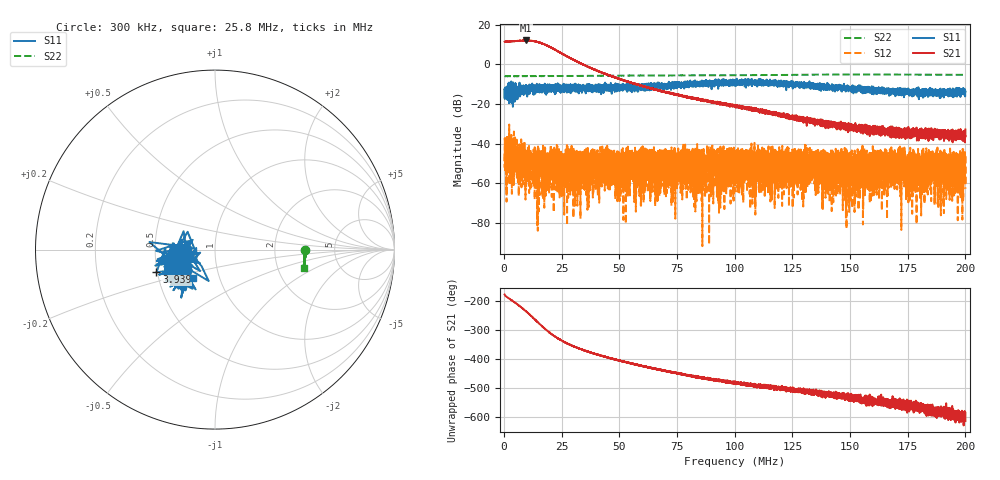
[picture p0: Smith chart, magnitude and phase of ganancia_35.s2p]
# Hz S DB R 50
! CMT, M5065, 19127446, 24.2.4/2
! Date: 11/8/2024 3:05:56 PM
! Data: Format (Calibration Info)
! Freq	S11:dB/Ang(F2)	S21:dB/Ang(F2)	S12:dB/Ang(F2)	S22:dB/Ang(F2)
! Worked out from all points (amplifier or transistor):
!   9000 points, 300 kHz to 200 MHz, reference 50 ohm
!   highest |S21| = 12.0 dB at 9.509 MHz (marker M1)
!   |S21| within 3 dB of that: start of sweep to 19.38 MHz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
!   unconditionally stable (mu >= 1): start of sweep to end of sweep
!   at 33.59 MHz: K = 125.35, MAG = 1.8 dB, |S12| = -51.4 dB
!   at 100.2 MHz: K = 5057.79, MAG = -18.9 dB, |S12| = -63.2 dB
!   at 200 MHz: K = 20809.40, MAG = -31.2 dB, |S12| = -62.8 dB
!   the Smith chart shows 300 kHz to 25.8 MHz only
!   S11 on the Smith chart (normalised r, x): 300 kHz: 0.63, -0.00; 3.939 MHz: 0.49, -0.14; 25.8 MHz: 0.75, -0.25
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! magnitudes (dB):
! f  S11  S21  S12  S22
! 300 kHz  -12.9  11.4  -45.1  -6.0
! 3.939 MHz  -9.1  11.6  -46.0  -6.0
! 9.509 MHz  -11.4  12.0  -44.1  -5.9
! 25.8 MHz  -14.0  4.9  -48.4  -5.9
! 33.59 MHz  -12.1  0.2  -51.4  -5.9
! 66.87 MHz  -10.6  -12.9  -43.8  -5.6
! 68.85 MHz  -11.2  -13.6  -46.5  -5.7
! 73.58 MHz  -10.2  -15.0  -49.0  -5.6
! 100.2 MHz  -9.4  -20.8  -63.2  -5.5
! 120.4 MHz  -10.1  -25.4  -46.7  -5.4
! 133.4 MHz  -10.5  -28.6  -49.0  -5.3
! 139 MHz  -11.1  -29.1  -52.0  -5.2
! 144.5 MHz  -13.3  -29.6  -48.6  -5.2
! 146.6 MHz  -11.5  -30.9  -54.0  -5.2
! 166.7 MHz  -13.6  -32.6  -49.4  -5.2
! 173.3 MHz  -12.9  -35.5  -48.8  -5.3
! 176.3 MHz  -14.3  -35.2  -52.9  -5.3
! 189.4 MHz  -13.8  -37.3  -55.4  -5.3
! 192.6 MHz  -13.7  -35.0  -45.8  -5.3
! 197.8 MHz  -16.5  -35.5  -49.8  -5.3
! 199 MHz  -12.3  -34.5  -54.0  -5.4
! 200 MHz  -13.7  -32.9  -62.8  -5.3
